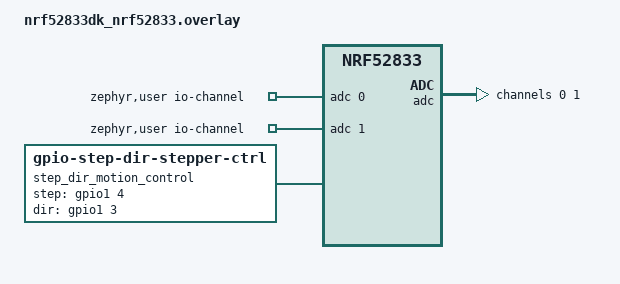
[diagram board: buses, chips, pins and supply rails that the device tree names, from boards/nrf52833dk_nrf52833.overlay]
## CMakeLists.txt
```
#
# Copyright (c) 2025 Nordic Semiconductor ASA
#
# SPDX-License-Identifier: LicenseRef-Nordic-5-Clause
#

cmake_minimum_required(VERSION 3.28.0)

find_package(Zephyr REQUIRED HINTS $ENV{ZEPHYR_BASE})
project(adc_dt)

FILE(GLOB app_sources src/*.c)
target_sources(app PRIVATE ${app_sources})
```

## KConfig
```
mainmenu "Fiber optic sensing test application"

source "Kconfig.zephyr"
```

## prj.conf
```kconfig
# Misc. configuration
CONFIG_BOOT_BANNER=n

# Hardware configuration
CONFIG_ADC=y
CONFIG_STEPPER=y
CONFIG_INPUT=y
```

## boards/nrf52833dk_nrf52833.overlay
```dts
#include <zephyr/dt-bindings/adc/nrf-saadc.h>

/ {
	zephyr,user {
		io-channels = <&adc 0>, <&adc 1>/*, <&adc 2>, <&adc 3>*/;
	};

	aliases {
		stepper-ctrl = &step_dir_motion_control;
	};

	step_dir_motion_control: motion-controller {
		compatible = "zephyr,gpio-step-dir-stepper-ctrl";
		step-gpios = <&gpio1 4 GPIO_ACTIVE_HIGH>; /* P1.04, D3 */
		dir-gpios = <&gpio1 3 GPIO_ACTIVE_HIGH>; /* P1.03, D2 */
		invert-direction;
	};
};

&button0 {zephyr,code = <INPUT_KEY_0>;};
&button1 {zephyr,code = <INPUT_KEY_1>;};
&button2 {zephyr,code = <INPUT_KEY_2>;};
&button3 {zephyr,code = <INPUT_KEY_3>; };

&adc {
	#address-cells = <1>;
	#size-cells = <0>;

	channel@0 {
		reg = <0>;
		zephyr,gain = "ADC_GAIN_1_6";
		zephyr,reference = "ADC_REF_INTERNAL";
		zephyr,acquisition-time = <ADC_ACQ_TIME_DEFAULT>;
		zephyr,input-positive = <NRF_SAADC_AIN1>; /* P0.03, Vo1 */
		zephyr,resolution = <12>;
		// zephyr,oversampling = <8>;
	};

	// channel@1 {
	// 	reg = <1>;
	// 	zephyr,gain = "ADC_GAIN_1_6";
	// 	zephyr,reference = "ADC_REF_INTERNAL";
	// 	zephyr,acquisition-time = <ADC_ACQ_TIME_DEFAULT>;
	// 	zephyr,input-positive = <NRF_SAADC_AIN2>; /* P0.04, Vo2 */
	// 	zephyr,resolution = <12>;
	// 	// zephyr,oversampling = <8>;
	// };

	// channel@2 {
	// 	reg = <2>;
	// 	zephyr,gain = "ADC_GAIN_1_6";
	// 	zephyr,reference = "ADC_REF_INTERNAL";
	// 	zephyr,acquisition-time = <ADC_ACQ_TIME_DEFAULT>;
	// 	zephyr,input-positive = <NRF_SAADC_AIN4>; /* P0.28, Vo3 */
	// 	zephyr,resolution = <12>;
	// 	// zephyr,oversampling = <8>;
	// };

	/* Shared Vref (~0.1 V): gain 1 gives 0.6 V full scale for better resolution */
	channel@1 {
		reg = <1>;
		zephyr,gain = "ADC_GAIN_1";
		zephyr,reference = "ADC_REF_INTERNAL";
		zephyr,acquisition-time = <ADC_ACQ_TIME_DEFAULT>;
		zephyr,input-positive = <NRF_SAADC_AIN5>; /* P0.29, Vref */
		zephyr,resolution = <12>;
		// zephyr,oversampling = <8>;
	};
};
```

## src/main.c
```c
/*
 * Photodiode transimpedance amplifier readout + stepper control
 * nRF52833-DK / Zephyr
 *
 *   SW1 (button0): return to 0 degrees
 *   SW2 (button1): tighten to TIGHTEN_DEG degrees
 *   SW3 (button2): debug print (readings for calibrating the photodiode)
 *   SW4 (button3): disable/reenable printing
 *
 * ADC channels (io-channels order in the overlay): Vo, Vref
 * Periodic CSV output; debug output lines start with '#' so they are easy
 * to filter out when parsing the CSV.
 */

#include <errno.h>
#include <inttypes.h>
#include <stdint.h>

#include <zephyr/device.h>
#include <zephyr/devicetree.h>
#include <zephyr/drivers/adc.h>
#include <zephyr/drivers/stepper/stepper.h>
#include <zephyr/drivers/stepper/stepper_ctrl.h>
#include <zephyr/input/input.h>
#include <zephyr/kernel.h>
#include <zephyr/sys/printk.h>
#include <zephyr/sys/util.h>

/* ------------------------------------------------------------------ */
/* Constants                                                          */
/* ------------------------------------------------------------------ */

#define DIV_NUM 25  /* Output voltage divider (10k + 15k) */
#define DIV_DEN 15  /* Output voltage divider top (15k) */
#define R1_OHMS 150000LL /* Feedback resistor */

#define SAMPLE_PERIOD_MS 1000 /* "y" Hz = 1000 / this */
#define TIGHTEN_DEG 90 /* "x": target for button 2 */
#define STEPS_PER_REV 200 /* full steps per rev (1.8 deg) */
#define STEP_INTERVAL_NS 500000000ULL /* time between micro-steps */

/* ------------------------------------------------------------------ */
/* Stepper                                                            */
/* ------------------------------------------------------------------ */

static const struct device *const stepper_ctrl =
	DEVICE_DT_GET(DT_ALIAS(stepper_ctrl));

static bool streaming = true;

#define MICROSTEP_RES 1 // Edit as needed
#define STEPS_PER_360 (STEPS_PER_REV * MICROSTEP_RES)

static int32_t deg_to_steps(int32_t deg)
{
	return (int32_t)(((int64_t)deg * STEPS_PER_360) / 360);
}

static int32_t steps_to_mdeg(int32_t steps)
{
	return (int32_t)(((int64_t)steps * 360000) / STEPS_PER_360);
}

static void move_to_deg(int32_t deg)
{
	int err = stepper_ctrl_move_to(stepper_ctrl, deg_to_steps(deg));

	if (err < 0) {
		printk("# ERROR move_to %d deg (%d)\n", (int)deg, err);
	} else {
		printk("# Moving to %d deg\n", (int)deg);
	}
}

/* ------------------------------------------------------------------ */
/* Command queue (buttons + stepper callback -> main loop)            */
/* ------------------------------------------------------------------ */

enum cmd {
	CMD_RESET,
	CMD_TIGHTEN,
	CMD_DEBUG,
	CMD_MOVE_DONE,
	CMD_TOGGLE_STREAM,
};

K_MSGQ_DEFINE(cmd_q, sizeof(uint8_t), 8, 1);

static void post_cmd(enum cmd c)
{
	uint8_t v = (uint8_t)c;

	(void)k_msgq_put(&cmd_q, &v, K_NO_WAIT);
}

static void stepper_callback(const struct device *dev,
			     const enum stepper_ctrl_event event,
			     void *user_data)
{
	ARG_UNUSED(dev);
	ARG_UNUSED(user_data);

	if (event == STEPPER_CTRL_EVENT_STEPS_COMPLETED) {
		post_cmd(CMD_MOVE_DONE);
	}
}

static void button_pressed(struct input_event *evt, void *user_data)
{
	ARG_UNUSED(user_data);

	/* Only act on key presses (value 1), not releases. */
	if (evt->type != INPUT_EV_KEY || evt->value != 1) {
		return;
	}

	switch (evt->code) {
	case INPUT_KEY_0:
		post_cmd(CMD_RESET);
		break;
	case INPUT_KEY_1:
		post_cmd(CMD_TIGHTEN);
		break;
	case INPUT_KEY_2:
		post_cmd(CMD_DEBUG);
		break;
	case INPUT_KEY_3:
		post_cmd(CMD_TOGGLE_STREAM);
		break;
	default:
		break;
	}
}

/* NULL device = listen to every input device. */
INPUT_CALLBACK_DEFINE(NULL, button_pressed, NULL);

/* ------------------------------------------------------------------ */
/* ADC                                                                */
/* ------------------------------------------------------------------ */

#define VO_IDX    0
#define VREF_IDX  1
#define NUM_CH    2

#define DT_SPEC_AND_COMMA(node_id, prop, idx) \
	ADC_DT_SPEC_GET_BY_IDX(node_id, idx),

/* io-channels order in the overlay: Vo, Vref */
static const struct adc_dt_spec adc_channels[] = {
	DT_FOREACH_PROP_ELEM(DT_PATH(zephyr_user), io_channels,
			     DT_SPEC_AND_COMMA)
};

BUILD_ASSERT(ARRAY_SIZE(adc_channels) == NUM_CH,
	     "Expected 2 ADC channels in io-channels: Vo, Vref");

static int16_t adc_buf[NUM_CH];

struct measurement {
	int16_t raw[NUM_CH];
	int32_t mv[NUM_CH];
	int64_t i_pa;       /* photodiode current in picoamps */
};

static int measure(struct adc_sequence *seq, struct measurement *m)
{
	int err = adc_read_dt(&adc_channels[0], seq);

	if (err < 0) {
		printk("# ERROR adc read (%d)\n", err);
		return err;
	}
	seq->calibrate = false; /* calibrate only on the first read */

	for (size_t i = 0; i < NUM_CH; i++) {
		m->raw[i] = adc_buf[i];
		m->mv[i] = adc_buf[i];
		err = adc_raw_to_millivolts_dt(&adc_channels[i], &m->mv[i]);
		if (err < 0) {
			printk("# ERROR mV conversion ch%d (%d)\n", (int)i, err);
			return err;
		}
	}

	int32_t vo_amp_mv = m->mv[VO_IDX] * DIV_NUM / DIV_DEN;
	m->i_pa = ((int64_t)(vo_amp_mv - m->mv[VREF_IDX]) * 1000000000LL) / R1_OHMS;

	return 0;
}

/* ------------------------------------------------------------------ */
/* Output                                                             */
/* ------------------------------------------------------------------ */

static void print_csv(int64_t t_ms, const struct measurement *m)
{
	int32_t pos = 0;

	(void)stepper_ctrl_get_actual_position(stepper_ctrl, &pos);

	printk("%" PRId64 ",%" PRId32 ",%" PRId32 ",%" PRId64 ",%" PRId32
	       ",%" PRId32 "\n",
	       t_ms, m->mv[VO_IDX], m->mv[VREF_IDX], m->i_pa, pos,
	       steps_to_mdeg(pos));
}

static void print_debug(const struct measurement *m)
{
	int32_t pos = 0;

	(void)stepper_ctrl_get_actual_position(stepper_ctrl, &pos);

	printk("# DEBUG Vo: raw=%d  %d mV | Vref: raw=%d  %d mV | "
	       "Vo-Vref=%d mV | I=%" PRId64 " pA | pos=%d steps (%d mdeg)\n",
	       m->raw[VO_IDX], (int)m->mv[VO_IDX],
	       m->raw[VREF_IDX], (int)m->mv[VREF_IDX],
	       (int)(m->mv[VO_IDX] - m->mv[VREF_IDX]), m->i_pa,
	       (int)pos, (int)steps_to_mdeg(pos));
}

/* ------------------------------------------------------------------ */
/* Setup helpers                                                      */
/* ------------------------------------------------------------------ */

static int stepper_setup(void)
{
	int err;

	if (!device_is_ready(stepper_ctrl)) {
		printk("# ERROR stepper device not ready\n");
		return -ENODEV;
	}

	err = stepper_ctrl_set_event_cb(stepper_ctrl, stepper_callback, NULL);
	if (err < 0) {
		printk("# ERROR set_event_cb (%d)\n", err);
		return err;
	}

	/* Whatever position the motor is in at boot is defined as 0 deg. */
	(void)stepper_ctrl_set_reference_position(stepper_ctrl, 0);
	(void)stepper_ctrl_set_microstep_interval(stepper_ctrl, STEP_INTERVAL_NS);

	return 0;
}

static int adc_setup(struct adc_sequence *seq)
{
	int err;

	for (size_t i = 0; i < NUM_CH; i++) {
		if (!adc_is_ready_dt(&adc_channels[i])) {
			printk("# ERROR ADC %s not ready\n",
			       adc_channels[i].dev->name);
			return -ENODEV;
		}

		err = adc_channel_setup_dt(&adc_channels[i]);
		if (err < 0) {
			printk("# ERROR channel setup #%d (%d)\n", (int)i, err);
			return err;
		}

		/* Samples land in the buffer in ascending channel-id order,
		 * so channel ids must match the io-channels order. */
		if (adc_channels[i].channel_id != i) {
			printk("# ERROR channel ids must be 0..%d in order\n",
			       NUM_CH - 1);
			return -EINVAL;
		}
	}

	/* One sequence covering all channels. Resolution and oversampling are
	 * taken from channel 0, so both channels should use the same values. */
	err = adc_sequence_init_dt(&adc_channels[0], seq);
	if (err < 0) {
		return err;
	}
	for (size_t i = 1; i < NUM_CH; i++) {
		seq->channels |= BIT(adc_channels[i].channel_id);
	}

	return 0;
}

/* ------------------------------------------------------------------ */
/* Main                                                               */
/* ------------------------------------------------------------------ */

static void handle_cmd(enum cmd c, struct adc_sequence *seq)
{
	struct measurement m;

	switch (c) {
		case CMD_RESET:
			move_to_deg(0);
			break;
		case CMD_TIGHTEN:
			move_to_deg(TIGHTEN_DEG);
			break;
		case CMD_DEBUG:
			if (measure(seq, &m) == 0) {
				print_debug(&m);
			}
			break;
		case CMD_MOVE_DONE: {
			int32_t pos = 0;
			(void)stepper_ctrl_get_actual_position(stepper_ctrl, &pos);
			printk("# Move complete: pos=%d steps (%d mdeg)\n",
				(int)pos, (int)steps_to_mdeg(pos));
			break;
		}
		case CMD_TOGGLE_STREAM:
			streaming = !streaming;
			if (streaming) {
				printk("t_ms,vo_mv,vref_mv,i_pa,pos_steps,pos_mdeg\n");
			} else {
				printk("# Streaming stopped\n");
			}
			break;
	}
}

int main(void)
{
	struct adc_sequence sequence = {
		.buffer = adc_buf,
		.buffer_size = sizeof(adc_buf),
		.calibrate = true,
	};

	if (stepper_setup() < 0 || adc_setup(&sequence) < 0) {
		return 0;
	}

	printk("t_ms,vo_mv,vref_mv,i_pa,pos_steps,pos_mdeg\n");

	int64_t next_ms = k_uptime_get();

	while (1) {
		uint8_t c;

		/* Waiting for a command doubles as the sampling timer: if no
		 * command arrives before next_ms, we take a sample. Stepper
		 * moves are non-blocking, so sampling continues during motion. */
		if (k_msgq_get(&cmd_q, &c, K_TIMEOUT_ABS_MS(next_ms)) == 0) {
			handle_cmd((enum cmd)c, &sequence);
			continue;
		}

		if (streaming) {
			struct measurement m;
			int64_t now = k_uptime_get();

			if (measure(&sequence, &m) == 0) {
				print_csv(now, &m);
			}
		}
		next_ms += SAMPLE_PERIOD_MS;
	}

	return 0;
}
```
